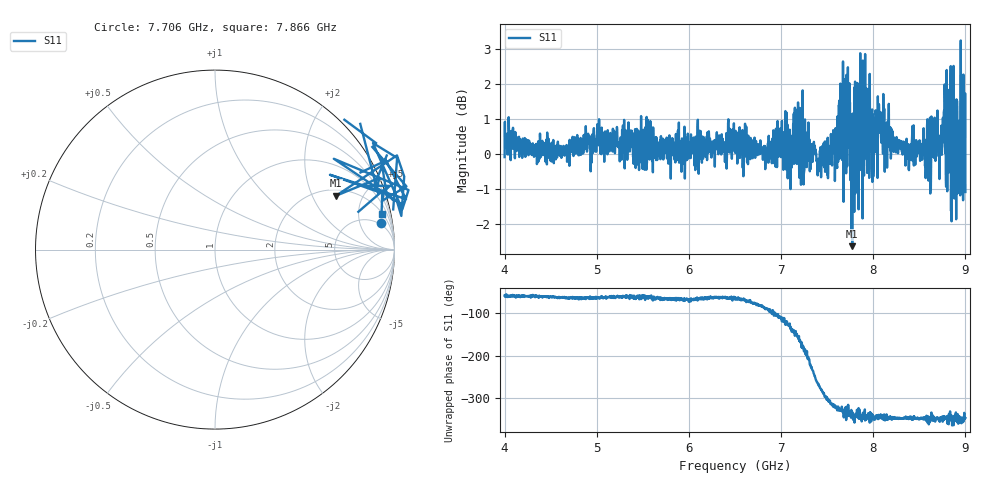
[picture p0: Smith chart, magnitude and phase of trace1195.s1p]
! Created with skrf 1.8.0 (http://scikit-rf.org).
# Hz S RI R 50.0
!freq ReS11 ImS11
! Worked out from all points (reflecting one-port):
!   1601 points, 4 GHz to 9 GHz, reference 50 ohm
!   lowest |S11| = -2.6 dB at 7.772 GHz (marker M1), VSWR 6.64, Z = 116 + j153 ohm
!   phase of S11 starts at -58 deg and turns -288 deg over the sweep
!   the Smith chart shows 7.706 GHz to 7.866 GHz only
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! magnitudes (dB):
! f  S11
! 4 GHz  -0.1
! 4.069 GHz  0.6
! 4.625 GHz  0.0
! 5.25 GHz  -0.2
! 5.875 GHz  -0.2
! 6.5 GHz  0.4
! 7.097 GHz  -0.2
! 7.125 GHz  0.4
! 7.184 GHz  1.5
! 7.409 GHz  -0.4
! 7.597 GHz  0.2
! 7.65 GHz  1.1
! 7.734 GHz  1.4
! 7.75 GHz  -0.7
! 7.772 GHz  -2.6
! 7.788 GHz  0.2
! 7.803 GHz  2.1
! 7.847 GHz  0.6
! 8.022 GHz  0.4
! 8.075 GHz  0.8
! 8.375 GHz  0.1
! 8.622 GHz  0.4
! 8.656 GHz  0.0
! 8.725 GHz  0.5
! 8.775 GHz  2.0
! 8.919 GHz  -0.2
! 8.972 GHz  0.4
! 9 GHz  -1.1
